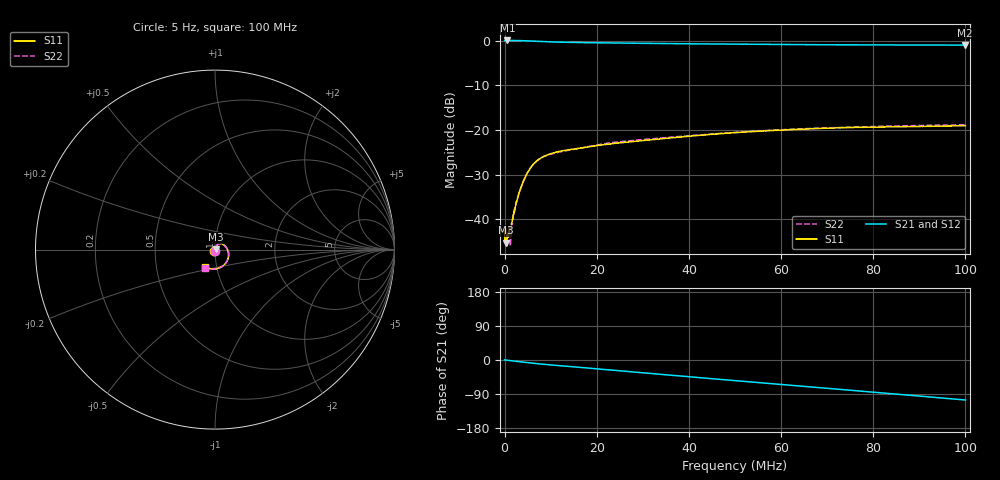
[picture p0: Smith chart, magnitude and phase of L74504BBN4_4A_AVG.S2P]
!Agilent Technologies,E5061B,MY49102235,A.02.00
!Date: Tue Jul 11 16:35:31 2023
!Data & Calibration Information:
!Freq	S11:SOLT2(ON)	S21:SOLT2(ON)	S12:SOLT2(ON)	S22:SOLT2(ON)
# Hz S RI R 50
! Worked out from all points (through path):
!   1600 points, 5 Hz to 100 MHz, reference 50 ohm
!   highest |S21| = 0.02 dB at 625.4 kHz (marker M1); lowest = -1.0 dB at 99.81 MHz (marker M2)
!   group delay of S21, straight-line fit = 2.87 ns
!   lowest |S11| = -45.2 dB at 250.2 kHz (marker M3), VSWR 1.01, Z = 50.5 + j0.151 ohm
!   |S11| at or under -10 dB: start of sweep to end of sweep
!   |S22| runs from -46.0 to -18.8 dB; largest |S21 - S12| = 0.0025
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5  -0.00516 -0.00561  1.002 0.00808  1 0.0102  -0.00146 -0.00753
250161.3  0.00532 0.00149  1.001 -0.00482  1.001 -0.00481  0.00729 -0.000379
625395.8  0.00527 0.00354  1.002 -0.0145  1.002 -0.0142  0.00628 0.00315
938091.3  0.00466 0.00583  1.001 -0.0212  1.001 -0.021  0.00623 0.00526
1313326  0.00503 0.00656  1.001 -0.0302  1.001 -0.0305  0.00322 0.00501
1688560  0.00465 0.00862  0.9998 -0.0406  1.001 -0.0407  0.00436 0.0078
2063795  0.00426 0.0116  1 -0.05  0.9997 -0.0504  0.00471 0.0114
2376490  0.00483 0.0133  0.9984 -0.0575  0.9988 -0.0579  0.00548 0.0136
2939342  0.00677 0.017  0.997 -0.0719  0.9966 -0.0721  0.00574 0.0174
3502194  0.00841 0.0205  0.9946 -0.0863  0.9945 -0.0862  0.00752 0.0212
4752975  0.0144 0.0283  0.9867 -0.1176  0.9868 -0.1174  0.0139 0.0286
6128835  0.0243 0.0328  0.9745 -0.1479  0.9746 -0.1482  0.0238 0.0331
7817390  0.0356 0.033  0.9586 -0.1803  0.9584 -0.1801  0.0352 0.0334
9881180  0.0458 0.0286  0.9415 -0.2149  0.9412 -0.2148  0.0451 0.0287
1.669794e7  0.0617 0.0127  0.8921 -0.322  0.8919 -0.3217  0.0615 0.0125
2.345216e7  0.0703 -0.00127  0.8379 -0.425  0.8378 -0.4247  0.0723 -0.00251
3.333334e7  0.0752 -0.0247  0.7385 -0.5613  0.7384 -0.561  0.0765 -0.0259
5.003127e7  0.0654 -0.0667  0.5292 -0.7409  0.529 -0.7408  0.0653 -0.0678
6.672921e7  0.0304 -0.0988  0.286 -0.8518  0.2862 -0.8518  0.0312 -0.0993
8.33646e7  -0.013 -0.1076  0.0256 -0.8923  0.0256 -0.8924  -0.0126 -0.1096
9.981238e7  -0.0535 -0.0981  -0.2356 -0.8575  -0.2356 -0.8577  -0.0536 -0.1007
1e8  -0.054 -0.0979  -0.2386 -0.8568  -0.2386 -0.8568  -0.054 -0.1007
